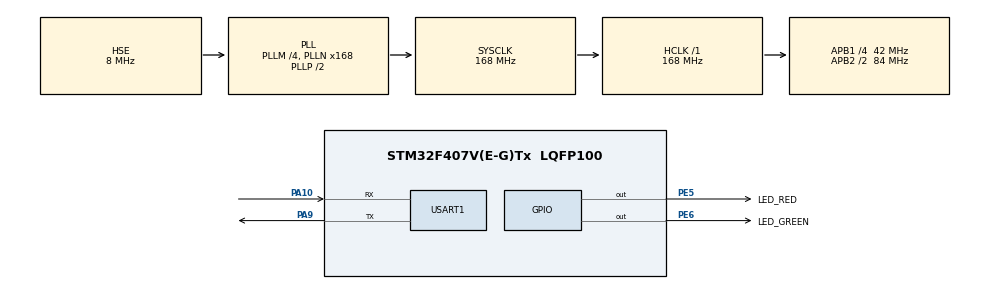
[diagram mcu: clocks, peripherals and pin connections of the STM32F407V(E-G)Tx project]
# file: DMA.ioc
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Dma.Request0=USART1_TX
Dma.Request1=USART1_RX
Dma.USART1_RX.1.Direction=DMA_PERIPH_TO_MEMORY
Dma.USART1_RX.1.FIFOMode=DMA_FIFOMODE_DISABLE
Dma.USART1_RX.1.Instance=DMA2_Stream2
Dma.USART1_RX.1.MemDataAlignment=DMA_MDATAALIGN_BYTE
Dma.USART1_RX.1.MemInc=DMA_MINC_ENABLE
Dma.USART1_RX.1.Mode=DMA_NORMAL
Dma.USART1_RX.1.PeriphDataAlignment=DMA_PDATAALIGN_BYTE
Dma.USART1_RX.1.PeriphInc=DMA_PINC_DISABLE
Dma.USART1_RX.1.Priority=DMA_PRIORITY_LOW
Dma.USART1_TX.0.Direction=DMA_MEMORY_TO_PERIPH
Dma.USART1_TX.0.FIFOMode=DMA_FIFOMODE_DISABLE
Dma.USART1_TX.0.Instance=DMA2_Stream7
Dma.USART1_TX.0.MemDataAlignment=DMA_MDATAALIGN_BYTE
Dma.USART1_TX.0.MemInc=DMA_MINC_ENABLE
Dma.USART1_TX.0.Mode=DMA_NORMAL
Dma.USART1_TX.0.PeriphDataAlignment=DMA_PDATAALIGN_BYTE
Dma.USART1_TX.0.PeriphInc=DMA_PINC_DISABLE
Dma.USART1_TX.0.Priority=DMA_PRIORITY_LOW
Mcu.Family=STM32F4
Mcu.Name=STM32F407V(E-G)Tx
Mcu.Package=LQFP100
NVIC.DMA2_Stream2_IRQn=true\:0\:0\:false\:false\:true\:false\:true\:true
NVIC.DMA2_Stream7_IRQn=true\:0\:0\:false\:false\:true\:false\:true\:true
NVIC.PriorityGroup=NVIC_PRIORITYGROUP_4
NVIC.USART1_IRQn=true\:0\:0\:false\:false\:true\:true\:true\:true
PA10.Mode=Asynchronous
PA10.Signal=USART1_RX
PA13.Mode=Serial_Wire
PA13.Signal=SYS_JTMS-SWDIO
PA14.Mode=Serial_Wire
PA14.Signal=SYS_JTCK-SWCLK
PA9.Mode=Asynchronous
PA9.Signal=USART1_TX
PE5.GPIO_Label=LED_RED
PE5.PinState=GPIO_PIN_SET
PE5.Signal=GPIO_Output
PE6.GPIO_Label=LED_GREEN
PE6.PinState=GPIO_PIN_SET
PE6.Signal=GPIO_Output
PH0-OSC_IN.Mode=HSE-External-Oscillator
PH0-OSC_IN.Signal=RCC_OSC_IN
PH1-OSC_OUT.Mode=HSE-External-Oscillator
PH1-OSC_OUT.Signal=RCC_OSC_OUT
ProjectManager.HeapSize=0x200
ProjectManager.StackSize=0x400
ProjectManager.TargetToolchain=CMake
RCC.48MHZClocksFreq_Value=84000000
RCC.AHBFreq_Value=168000000
RCC.APB1CLKDivider=RCC_HCLK_DIV4
RCC.APB1Freq_Value=42000000
RCC.APB1TimFreq_Value=84000000
RCC.APB2CLKDivider=RCC_HCLK_DIV2
RCC.APB2Freq_Value=84000000
RCC.APB2TimFreq_Value=168000000
RCC.CortexFreq_Value=168000000
RCC.HCLKFreq_Value=168000000
RCC.HSE_VALUE=8000000
RCC.HSI_VALUE=16000000
RCC.LSE_VALUE=32768
RCC.PLLM=4
RCC.PLLN=168
RCC.PLLSourceVirtual=RCC_PLLSOURCE_HSE
RCC.SYSCLKFreq_VALUE=168000000
RCC.SYSCLKSource=RCC_SYSCLKSOURCE_PLLCLK
RCC.VCOOutputFreq_Value=336000000
USART1.VirtualMode=VM_ASYNC
board=custom

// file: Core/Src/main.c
/* USER CODE BEGIN Header */
/**
 ******************************************************************************
 * @file           : main.c
 * @brief          : Main program body
 ******************************************************************************
 * @attention
 *
 * Copyright (c) 2026 STMicroelectronics.
 * All rights reserved.
 *
 * This software is licensed under terms that can be found in the LICENSE file
 * in the root directory of this software component.
 * If no LICENSE file comes with this software, it is provided AS-IS.
 *
 ******************************************************************************
 */
/* USER CODE END Header */
#include "main.h"
#include "dma.h"
#include "usart.h"
#include "gpio.h"

/* USER CODE BEGIN PV */
// uint8_t receiveData[50];
uint8_t receiveData[50];

/* USER CODE END PV */

void SystemClock_Config(void);

/* USER CODE BEGIN 0 */
// void HAL_UART_RxCpltCallback(UART_HandleTypeDef *huart) {
//   HAL_UART_Transmit_IT(&huart1, receiveData, 2);

//   GPIO_PinState State = GPIO_PIN_RESET;
//   if (receiveData[1] == '0') {
//     State = GPIO_PIN_SET;
//   }
//   if (receiveData[0] == 'R') {
//     HAL_GPIO_WritePin(LED_RED_GPIO_Port, LED_RED_Pin, State);
//   } else if (receiveData[0] == 'G') {
//     HAL_GPIO_WritePin(LED_GREEN_GPIO_Port, LED_GREEN_Pin, State);
//   }
//   HAL_UART_Receive_IT(&huart1, receiveData, 2);
// }
void HAL_UARTEx_RxEventCallback(UART_HandleTypeDef *huart, uint16_t Size) {
      GPIO_PinState State = GPIO_PIN_RESET;

  if(huart==&huart1){
    HAL_UART_Transmit_DMA(&huart1, receiveData, Size);
  }
  if (receiveData[1] == '0') {
    State = GPIO_PIN_SET;
  }
  if (receiveData[0] == 'R') {
    HAL_GPIO_WritePin(LED_RED_GPIO_Port, LED_RED_Pin, State);
  }
  else if (receiveData[0] == 'G') {
    HAL_GPIO_WritePin(LED_GREEN_GPIO_Port, LED_GREEN_Pin, State);
  }
  HAL_UARTEx_ReceiveToIdle_DMA(&huart1, receiveData, 50);
  __HAL_DMA_DISABLE_IT(&hdma_usart1_rx, DMA_IT_HT);
}
// }
/* USER CODE END 0 */

int main(void)
{

  /* MCU Configuration--------------------------------------------------------*/

  /* Reset of all peripherals, Initializes the Flash interface and the Systick. */
  HAL_Init();

  /* Configure the system clock */
  SystemClock_Config();

  /* Initialize all configured peripherals */
  MX_GPIO_Init();
  MX_DMA_Init();
  MX_USART1_UART_Init();
  /* USER CODE BEGIN 2 */
  // 定义hello world
  //  char message[] = "Hello World!\r\n";
  // HAL_UART_Receive_DMA(&huart1, receiveData, 2);
  //HAL_UART_Receive_IT(&huart1, receiveData, 2);

  HAL_UARTEx_ReceiveToIdle_DMA(&huart1, receiveData, 50);
  __HAL_DMA_DISABLE_IT(&hdma_usart1_rx, DMA_IT_HT);

  /* USER CODE END 2 */

  /* Infinite loop */
  /* USER CODE BEGIN WHILE */
  while (1) {
    // 发送hello world
    //  HAL_UART_Transmit(&huart1, (uint8_t *)message, sizeof(message) - 1,
    //  100); HAL_Delay(1000);
    // HAL_UART_Receive(&huart1, receiveData, 2, HAL_MAX_DELAY);
    // HAL_UART_Transmit(&huart1, receiveData, 2, HAL_MAX_DELAY);
    //   HAL_GPIO_WritePin(LED_GREEN_GPIO_Port, LED_GREEN_Pin, GPIO_PIN_SET);
    //   HAL_Delay(1000);
    // HAL_GPIO_WritePin(LED_GREEN_GPIO_Port, LED_GREEN_Pin, GPIO_PIN_RESET);
    // HAL_Delay(1000);
    /* USER CODE END WHILE */

  }
}

void SystemClock_Config(void)
{
  RCC_OscInitTypeDef RCC_OscInitStruct = {0};
  RCC_ClkInitTypeDef RCC_ClkInitStruct = {0};

  /** Configure the main internal regulator output voltage
  */
  __HAL_RCC_PWR_CLK_ENABLE();
  __HAL_PWR_VOLTAGESCALING_CONFIG(PWR_REGULATOR_VOLTAGE_SCALE1);

  /** Initializes the RCC Oscillators according to the specified parameters
  * in the RCC_OscInitTypeDef structure.
  */
  RCC_OscInitStruct.OscillatorType = RCC_OSCILLATORTYPE_HSE;
  RCC_OscInitStruct.HSEState = RCC_HSE_ON;
  RCC_OscInitStruct.PLL.PLLState = RCC_PLL_ON;
  RCC_OscInitStruct.PLL.PLLSource = RCC_PLLSOURCE_HSE;
  RCC_OscInitStruct.PLL.PLLM = 4;
  RCC_OscInitStruct.PLL.PLLN = 168;
  RCC_OscInitStruct.PLL.PLLP = RCC_PLLP_DIV2;
  RCC_OscInitStruct.PLL.PLLQ = 4;
  if (HAL_RCC_OscConfig(&RCC_OscInitStruct) != HAL_OK)
  {
    Error_Handler();
  }

  /** Initializes the CPU, AHB and APB buses clocks
  */
  RCC_ClkInitStruct.ClockType = RCC_CLOCKTYPE_HCLK|RCC_CLOCKTYPE_SYSCLK
                              |RCC_CLOCKTYPE_PCLK1|RCC_CLOCKTYPE_PCLK2;
  RCC_ClkInitStruct.SYSCLKSource = RCC_SYSCLKSOURCE_PLLCLK;
  RCC_ClkInitStruct.AHBCLKDivider = RCC_SYSCLK_DIV1;
  RCC_ClkInitStruct.APB1CLKDivider = RCC_HCLK_DIV4;
  RCC_ClkInitStruct.APB2CLKDivider = RCC_HCLK_DIV2;

  if (HAL_RCC_ClockConfig(&RCC_ClkInitStruct, FLASH_LATENCY_5) != HAL_OK)
  {
    Error_Handler();
  }
}

void Error_Handler(void)
{
  __disable_irq();
  while (1) {
  }
}
#ifdef USE_FULL_ASSERT
/**
  * @brief  Reports the name of the source file and the source line number
  *         where the assert_param error has occurred.
  * @param  file: pointer to the source file name
  * @param  line: assert_param error line source number
  * @retval None
  */
void assert_failed(uint8_t *file, uint32_t line)
{
  /* USER CODE BEGIN 6 */
  /* User can add his own implementation to report the file name and line
     number, ex: printf("Wrong parameters value: file %s on line %d\r\n", file,
     line) */
  /* USER CODE END 6 */
}
#endif /* USE_FULL_ASSERT */
